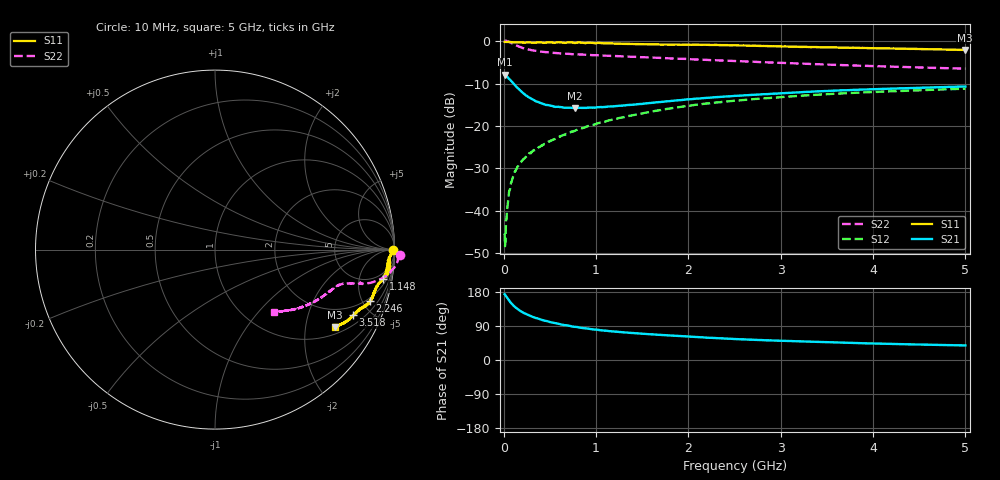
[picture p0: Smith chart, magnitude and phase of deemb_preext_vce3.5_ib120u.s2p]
! Forward-simulated: Re-embedded (raw/measured) — deemb_preext_vce3.5_ib120u.s2p
!  source_deembedded_file = deemb_preext_vce3.5_ib120u.s2p
!  Cpbe_fF = 22.0
!  Cpce_fF = 18.0
!  Cpbc_fF = 5.0
!  Lb_pH = 45.0
!  Lc_pH = 42.0
!  Le_pH = 6.0
!  Rpb_ohm = 0.0
!  Rpc_ohm = 0.0
!  Rpe_ohm = 0.0
# Hz S DB R 50
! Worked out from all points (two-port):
!   1001 points, 10 MHz to 5 GHz, reference 50 ohm
!   highest |S21| = -7.86 dB at 10 MHz (marker M1); lowest = -15.8 dB at 773.5 MHz (marker M2)
!   |S21| within 3 dB of the highest: start of sweep to 145.2 MHz; 4.646 GHz to end of sweep
!   lowest |S11| = -2.0 dB at 4.995 GHz (marker M3), VSWR 8.75, Z = 61.7 - j145 ohm
!   |S11| at or under -10 dB: nowhere
!   |S22| runs from -6.4 to 0.2 dB; largest |S21 - S12| = 0.41
!   S11 on the Smith chart (normalised r, x): 10 MHz: open; 1.148 GHz: 3, -11; 2.246 GHz: 1.74, -5.74; 3.518 GHz: 1.48, -3.91; 5 GHz: 1.23, -2.90
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1e7  -0.07 -0.1  -7.86 173.8  -45.41 49.3  0.24 -1.6
2.996e7  -0.10 -0.6  -8.22 166.4  -42.08 74.7  0.15 -4.0
3.994e7  -0.10 -0.7  -8.40 163.0  -39.38 72.6  0.08 -5.3
4.992e7  -0.11 -0.8  -8.60 159.5  -37.33 74.5  -0.02 -6.3
5.99e7  -0.12 -1.0  -8.85 156.1  -35.26 69.8  -0.12 -7.3
7.986e7  -0.16 -1.4  -9.33 150.4  -33.32 69.4  -0.34 -8.9
1.1978e8  -0.19 -1.8  -10.29 140.6  -30.82 63.8  -0.79 -11.1
1.6968e8  -0.20 -2.2  -11.40 131.3  -28.99 59.8  -1.24 -12.5
2.7447e8  -0.23 -3.0  -13.21 117.8  -26.48 57.3  -1.89 -13.7
4.3415e8  -0.32 -4.6  -14.84 104.2  -24.38 56.3  -2.47 -14.6
5.589e8  -0.31 -5.1  -15.47 97.0  -23.03 56.5  -2.71 -15.3
7.7347e8  -0.36 -7.1  -15.77 87.6  -21.09 56.9  -3.01 -16.9
8.4333e8  -0.27 -7.9  -15.71 84.7  -20.52 56.7  -3.11 -17.4
1.14772e9  -0.43 -9.9  -15.39 76.1  -18.60 55.5  -3.39 -20.3
1.67666e9  -0.70 -13.6  -14.34 66.6  -16.30 53.2  -3.88 -25.4
2.24552e9  -0.82 -18.2  -13.26 58.5  -14.56 49.1  -4.41 -30.6
2.505e9  -0.88 -20.0  -12.86 55.2  -14.00 47.1  -4.63 -32.5
3.33833e9  -1.31 -24.3  -11.85 48.2  -12.65 42.3  -5.32 -38.4
3.51797e9  -1.40 -25.4  -11.70 46.8  -12.46 41.4  -5.46 -39.4
4.17166e9  -1.67 -29.4  -11.17 42.5  -11.80 38.0  -5.93 -42.9
4.99501e9  -1.99 -33.0  -10.65 38.4  -11.17 35.1  -6.41 -46.6
5e9  -1.99 -33.0  -10.66 38.5  -11.18 35.1  -6.41 -46.7
